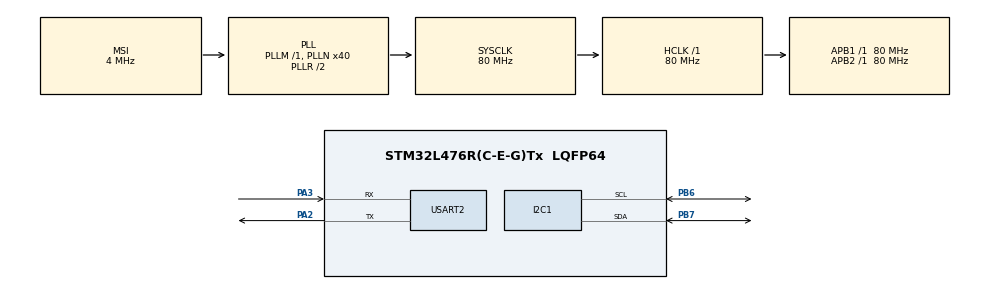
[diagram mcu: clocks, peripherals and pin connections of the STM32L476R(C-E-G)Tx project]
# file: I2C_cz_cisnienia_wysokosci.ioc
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I2C1.Timing=0x10909CEC
Mcu.Family=STM32L4
Mcu.Name=STM32L476R(C-E-G)Tx
Mcu.Package=LQFP64
NVIC.PriorityGroup=NVIC_PRIORITYGROUP_4
PA13\ (JTMS-SWDIO).Mode=Serial_Wire
PA13\ (JTMS-SWDIO).Signal=SYS_JTMS-SWDIO
PA14\ (JTCK-SWCLK).Mode=Serial_Wire
PA14\ (JTCK-SWCLK).Signal=SYS_JTCK-SWCLK
PA2.Mode=Asynchronous
PA2.Signal=USART2_TX
PA3.Mode=Asynchronous
PA3.Signal=USART2_RX
PB6.Mode=I2C
PB6.Signal=I2C1_SCL
PB7.Mode=I2C
PB7.Signal=I2C1_SDA
ProjectManager.HeapSize=0x200
ProjectManager.StackSize=0x400
ProjectManager.TargetToolchain=STM32CubeIDE
RCC.AHBFreq_Value=80000000
RCC.APB1Freq_Value=80000000
RCC.APB1TimFreq_Value=80000000
RCC.APB2Freq_Value=80000000
RCC.APB2TimFreq_Value=80000000
RCC.CortexFreq_Value=80000000
RCC.HCLKFreq_Value=80000000
RCC.HSE_VALUE=8000000
RCC.HSI_VALUE=16000000
RCC.LSE_VALUE=32768
RCC.MSI_VALUE=4000000
RCC.PLLN=40
RCC.SYSCLKFreq_VALUE=80000000
RCC.SYSCLKSource=RCC_SYSCLKSOURCE_PLLCLK
RCC.VCOOutputFreq_Value=160000000
USART2.VirtualMode-Asynchronous=VM_ASYNC
board=custom

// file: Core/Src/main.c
/* USER CODE BEGIN Header */
/**
  ******************************************************************************
  * @file           : main.c
  * @brief          : Main program body
  ******************************************************************************
  * @attention
  *
  * Copyright (c) 2024 STMicroelectronics.
  * All rights reserved.
  *
  * This software is licensed under terms that can be found in the LICENSE file
  * in the root directory of this software component.
  * If no LICENSE file comes with this software, it is provided AS-IS.
  *
  ******************************************************************************
  */
/* USER CODE END Header */
#include "main.h"
#include "i2c.h"
#include "usart.h"
#include "gpio.h"

/* USER CODE BEGIN Includes */
#include <stdio.h>
#include "LPS25HB.h"

#include <math.h>

/* USER CODE END Includes */

void SystemClock_Config(void);

/* USER CODE BEGIN 0 */

int __io_putchar(int ch)
{
  if (ch == '\n') {
    __io_putchar('\r');
  }

  HAL_UART_Transmit(&huart2, (uint8_t*)&ch, 1, HAL_MAX_DELAY);

  return 1;
}

/* USER CODE END 0 */

int main(void)
{

  /* MCU Configuration--------------------------------------------------------*/

  /* Reset of all peripherals, Initializes the Flash interface and the Systick. */
  HAL_Init();

  /* Configure the system clock */
  SystemClock_Config();

  /* Initialize all configured peripherals */
  MX_GPIO_Init();
  MX_I2C1_Init();
  MX_USART2_UART_Init();

  /* Infinite loop */
  /* USER CODE BEGIN WHILE */
  /*
  lps25hb_set_calib(74);  //kalibracja(błąd odczytu * 16)
  printf("Searching...\n");
  if (lps25hb_init() == HAL_OK) {
    printf("OK: LPS25HB\n");
  } else {
    printf("Error: LPS25HB not found\n");
    Error_Handler();
  }
  HAL_Delay(100);

  while (1)
  {
    //printf("T = %.1f*C\n", lps25hb_read_temp());
    //printf("p = %.1f hPa\n", lps25hb_read_pressure());

    //const float h = 153; // nasza wysokość n.p.m.

    float temp = lps25hb_read_temp() + 273.15;
    float p = lps25hb_read_pressure();
    //float p0 = p * exp(0.034162608734308 * h / temp);

    //float p0 = 1013.25;
    float p0 = 996;
    float h = -29.271769 * temp * log(p / p0);

    printf("h = %.2f m\n", h); //obliczenie wysokości bezwzględnej

    //printf("p0 = %.2f hPa\n", p0); // odczyt ciśnienia bezwględnego
    HAL_Delay(1000);
    */
// pomiar wysokości względnej
  printf("Searching...\n");
  if (lps25hb_init() == HAL_OK) {
    printf("OK: LPS25HB\n");
  } else {
    printf("Error: LPS25HB not found\n");
    Error_Handler();
  }

  HAL_Delay(5000);

  float p0 = lps25hb_read_pressure();

  while (1)
  {
    float temp = lps25hb_read_temp() + 273.15;
    float p = lps25hb_read_pressure();
    float h = -29.271769 * temp * log(p / p0);

    printf("h = %.2f m\n", h);
    HAL_Delay(1000);

    //HAL_Delay(1000);
    /* USER CODE END WHILE */

  }
}

void SystemClock_Config(void)
{
  RCC_OscInitTypeDef RCC_OscInitStruct = {0};
  RCC_ClkInitTypeDef RCC_ClkInitStruct = {0};

  /** Configure the main internal regulator output voltage
  */
  if (HAL_PWREx_ControlVoltageScaling(PWR_REGULATOR_VOLTAGE_SCALE1) != HAL_OK)
  {
    Error_Handler();
  }

  /** Initializes the RCC Oscillators according to the specified parameters
  * in the RCC_OscInitTypeDef structure.
  */
  RCC_OscInitStruct.OscillatorType = RCC_OSCILLATORTYPE_MSI;
  RCC_OscInitStruct.MSIState = RCC_MSI_ON;
  RCC_OscInitStruct.MSICalibrationValue = 0;
  RCC_OscInitStruct.MSIClockRange = RCC_MSIRANGE_6;
  RCC_OscInitStruct.PLL.PLLState = RCC_PLL_ON;
  RCC_OscInitStruct.PLL.PLLSource = RCC_PLLSOURCE_MSI;
  RCC_OscInitStruct.PLL.PLLM = 1;
  RCC_OscInitStruct.PLL.PLLN = 40;
  RCC_OscInitStruct.PLL.PLLP = RCC_PLLP_DIV7;
  RCC_OscInitStruct.PLL.PLLQ = RCC_PLLQ_DIV2;
  RCC_OscInitStruct.PLL.PLLR = RCC_PLLR_DIV2;
  if (HAL_RCC_OscConfig(&RCC_OscInitStruct) != HAL_OK)
  {
    Error_Handler();
  }

  /** Initializes the CPU, AHB and APB buses clocks
  */
  RCC_ClkInitStruct.ClockType = RCC_CLOCKTYPE_HCLK|RCC_CLOCKTYPE_SYSCLK
                              |RCC_CLOCKTYPE_PCLK1|RCC_CLOCKTYPE_PCLK2;
  RCC_ClkInitStruct.SYSCLKSource = RCC_SYSCLKSOURCE_PLLCLK;
  RCC_ClkInitStruct.AHBCLKDivider = RCC_SYSCLK_DIV1;
  RCC_ClkInitStruct.APB1CLKDivider = RCC_HCLK_DIV1;
  RCC_ClkInitStruct.APB2CLKDivider = RCC_HCLK_DIV1;

  if (HAL_RCC_ClockConfig(&RCC_ClkInitStruct, FLASH_LATENCY_4) != HAL_OK)
  {
    Error_Handler();
  }
}

void Error_Handler(void)
{
  __disable_irq();
  while (1)
  {
  }
}
